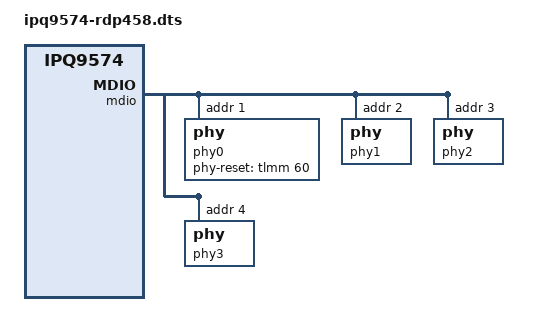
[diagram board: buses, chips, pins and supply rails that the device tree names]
// SPDX-License-Identifier: GPL-2.0-only
/*
* Copyright (c) 2023, Qualcomm Innovation Center, Inc. All rights reserved.
*/

#include "ipq9574-rdp417.dts"

/ {
	config_name = "config@al03-c2","config@rdp458", "config-rdp458";

};

&phy_rst_pinmux {
	/delete-node/ qti_8085_rst;

	qti_8x8x_rst {
		pins = "GPIO_60";
		drive-strength = <DRIVE_STRENGTH_8MA>;
		bias-pull-up;
	};
};

/delete-node/ &phy0;
/delete-node/ &phy1;
/delete-node/ &phy2;
/delete-node/ &phy3;
/delete-node/ &phy4;

&mdio {
	phy0: phy@1 {
		phy-reset-gpio = <&tlmm 60 0>;
		reg = <1>;
		phy_id = <8>;
		id = <1>;
		uniphy_id = <0>;
		uniphy_type = <0>;
	};

	phy1: phy@2 {
		reg = <2>;
		phy_id = <8>;
		id = <2>;
		uniphy_id = <0>;
		uniphy_type = <0>;
	};

	phy2: phy@3 {
		reg = <3>;
		phy_id = <8>;
		id = <3>;
		uniphy_id = <0>;
		uniphy_type = <0>;
	};

	phy3: phy@4 {
		reg = <4>;
		phy_id = <8>;
		id = <4>;
		uniphy_id = <0>;
		uniphy_type = <0>;
	};
};

&ethernet {
	/delete-property/ phy-handle4;
};
